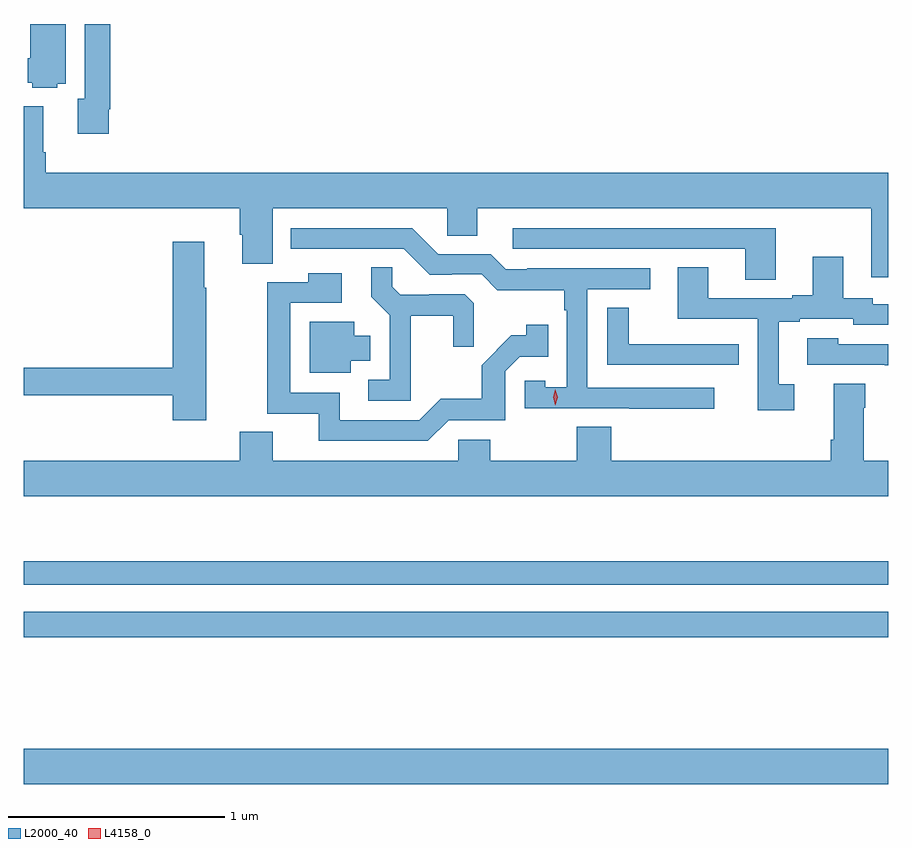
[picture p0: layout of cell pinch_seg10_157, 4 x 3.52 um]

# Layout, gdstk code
import gdstk
lib = gdstk.Library(unit=1e-6, precision=1e-09)
def R(c, l, rs):  # rectangles x0, y0, x1, y1
    for r in rs: c.add(gdstk.rectangle(r[:2], r[2:], *l))
def P(c, l, *ps):  # polygons
    for p in ps: c.add(gdstk.Polygon(p, *l))
L2000_40 = (2000, 40)
L4158_0 = (4158, 0)

pinch_seg10_157 = lib.new_cell('pinch_seg10_157')
R(pinch_seg10_157, L2000_40, [(752.96,1273.676,756.96,1273.84), (752.96,1274.356,756.96,1274.472), (752.96,1274.598,756.96,1274.707)])
P(pinch_seg10_157, L2000_40, [(753.352,1276.798),(753.359,1276.798),(753.359,1277.193),(753.243,1277.193),(753.243,1276.847),(753.209,1276.847),(753.209,1276.686),(753.352,1276.686)],
  [(753.114,1276.916),(753.154,1276.916),(753.154,1277.193),(752.99,1277.193),(752.99,1277.034),(752.978,1277.034),(752.978,1276.92),(753,1276.92),(753,1276.898),(753.114,1276.898)],
  [(756.96,1276.504),(753.062,1276.504),(753.062,1276.6),(753.049,1276.6),(753.049,1276.813),(752.96,1276.813),(752.96,1276.34),(753.959,1276.34),(753.959,1276.218),(753.971,1276.218),(753.971,1276.084),(754.111,1276.084),(754.111,1276.34),(754.92,1276.34),(754.92,1276.213),(755.059,1276.213),(755.059,1276.34),(756.881,1276.34),(756.881,1276.02),(756.96,1276.02)],
  [(756.154,1275.51),(755.568,1275.51),(755.568,1275.966),(755.86,1275.966),(755.86,1276.062),(755.29,1276.062),(755.29,1276.059),(755.19,1276.059),(755.121,1276.128),(754.878,1276.128),(754.758,1276.248),(754.196,1276.248),(754.196,1276.152),(754.719,1276.152),(754.839,1276.032),(754.94,1276.032),(754.94,1276.035),(755.079,1276.035),(755.152,1275.962),(755.46,1275.962),(755.46,1275.869),(755.472,1275.869),(755.472,1275.511),(755.373,1275.511),(755.373,1275.543),(755.277,1275.543),(755.277,1275.414),(755.761,1275.414),(755.761,1275.412),(756.154,1275.412)],
  [(756.439,1276.248),(755.223,1276.248),(755.223,1276.152),(756.299,1276.152),(756.299,1276.009),(756.439,1276.009)],
  [(753.804,1275.973),(753.796,1275.973),(753.796,1276.186),(753.65,1276.186),(753.65,1275.602),(752.96,1275.602),(752.96,1275.474),(753.65,1275.474),(753.65,1275.36),(753.804,1275.36)],
  [(756.526,1275.525),(756.454,1275.525),(756.454,1275.816),(756.55,1275.816),(756.55,1275.828),(756.798,1275.828),(756.798,1275.801),(756.96,1275.801),(756.96,1275.897),(756.888,1275.897),(756.888,1275.924),(756.751,1275.924),(756.751,1276.117),(756.611,1276.117),(756.611,1275.937),(756.515,1275.937),(756.515,1275.924),(756.127,1275.924),(756.127,1276.067),(755.987,1276.067),(755.987,1275.828),(756.357,1275.828),(756.357,1275.405),(756.526,1275.405)],
  [(754.751,1275.842),(754.948,1275.842),(754.948,1275.699),(755.042,1275.699),(755.042,1275.901),(755.001,1275.942),(754.836,1275.942),(754.836,1275.939),(754.702,1275.939),(754.665,1275.976),(754.665,1276.067),(754.567,1276.067),(754.567,1275.931),(754.653,1275.845),(754.653,1275.546),(754.554,1275.546),(754.554,1275.45),(754.751,1275.45)],
  [(754.926,1275.36),(755.187,1275.36),(755.187,1275.585),(755.256,1275.654),(755.387,1275.654),(755.387,1275.802),(755.286,1275.802),(755.286,1275.752),(755.216,1275.752),(755.079,1275.614),(755.079,1275.459),(754.89,1275.459),(754.791,1275.36),(754.423,1275.36),(754.423,1275.486),(754.194,1275.486),(754.194,1275.903),(754.432,1275.903),(754.432,1276.039),(754.276,1276.039),(754.276,1275.999),(754.086,1275.999),(754.086,1275.39),(754.325,1275.39),(754.325,1275.264),(754.83,1275.264)],
  [(756.268,1275.71),(756.155,1275.71),(756.155,1275.711),(755.76,1275.711),(755.76,1275.881),(755.661,1275.881),(755.661,1275.615),(756.268,1275.615)],
  [(754.474,1275.635),(754.564,1275.635),(754.564,1275.751),(754.489,1275.751),(754.489,1275.814),(754.283,1275.814),(754.283,1275.578),(754.474,1275.578)],
  [(756.96,1275.711),(756.729,1275.711),(756.729,1275.739),(756.585,1275.739),(756.585,1275.615),(756.943,1275.615),(756.943,1275.613),(756.96,1275.613)],
  [(756.96,1275.172),(756.847,1275.172),(756.847,1275.416),(756.855,1275.416),(756.855,1275.529),(756.707,1275.529),(756.707,1275.268),(756.695,1275.268),(756.695,1275.172),(755.678,1275.172),(755.678,1275.329),(755.518,1275.329),(755.518,1275.172),(755.118,1275.172),(755.118,1275.27),(754.971,1275.27),(754.971,1275.172),(754.111,1275.172),(754.111,1275.305),(753.959,1275.305),(753.959,1275.172),(752.96,1275.172),(752.96,1275.008),(756.96,1275.008)])
P(pinch_seg10_157, L4158_0, [(755.42,1275.429),(755.42,1275.429),(755.41,1275.465),(755.42,1275.501),(755.42,1275.502),(755.42,1275.501),(755.43,1275.465),(755.42,1275.429)])

lib.write_gds('pinch_seg10_157.gds')
